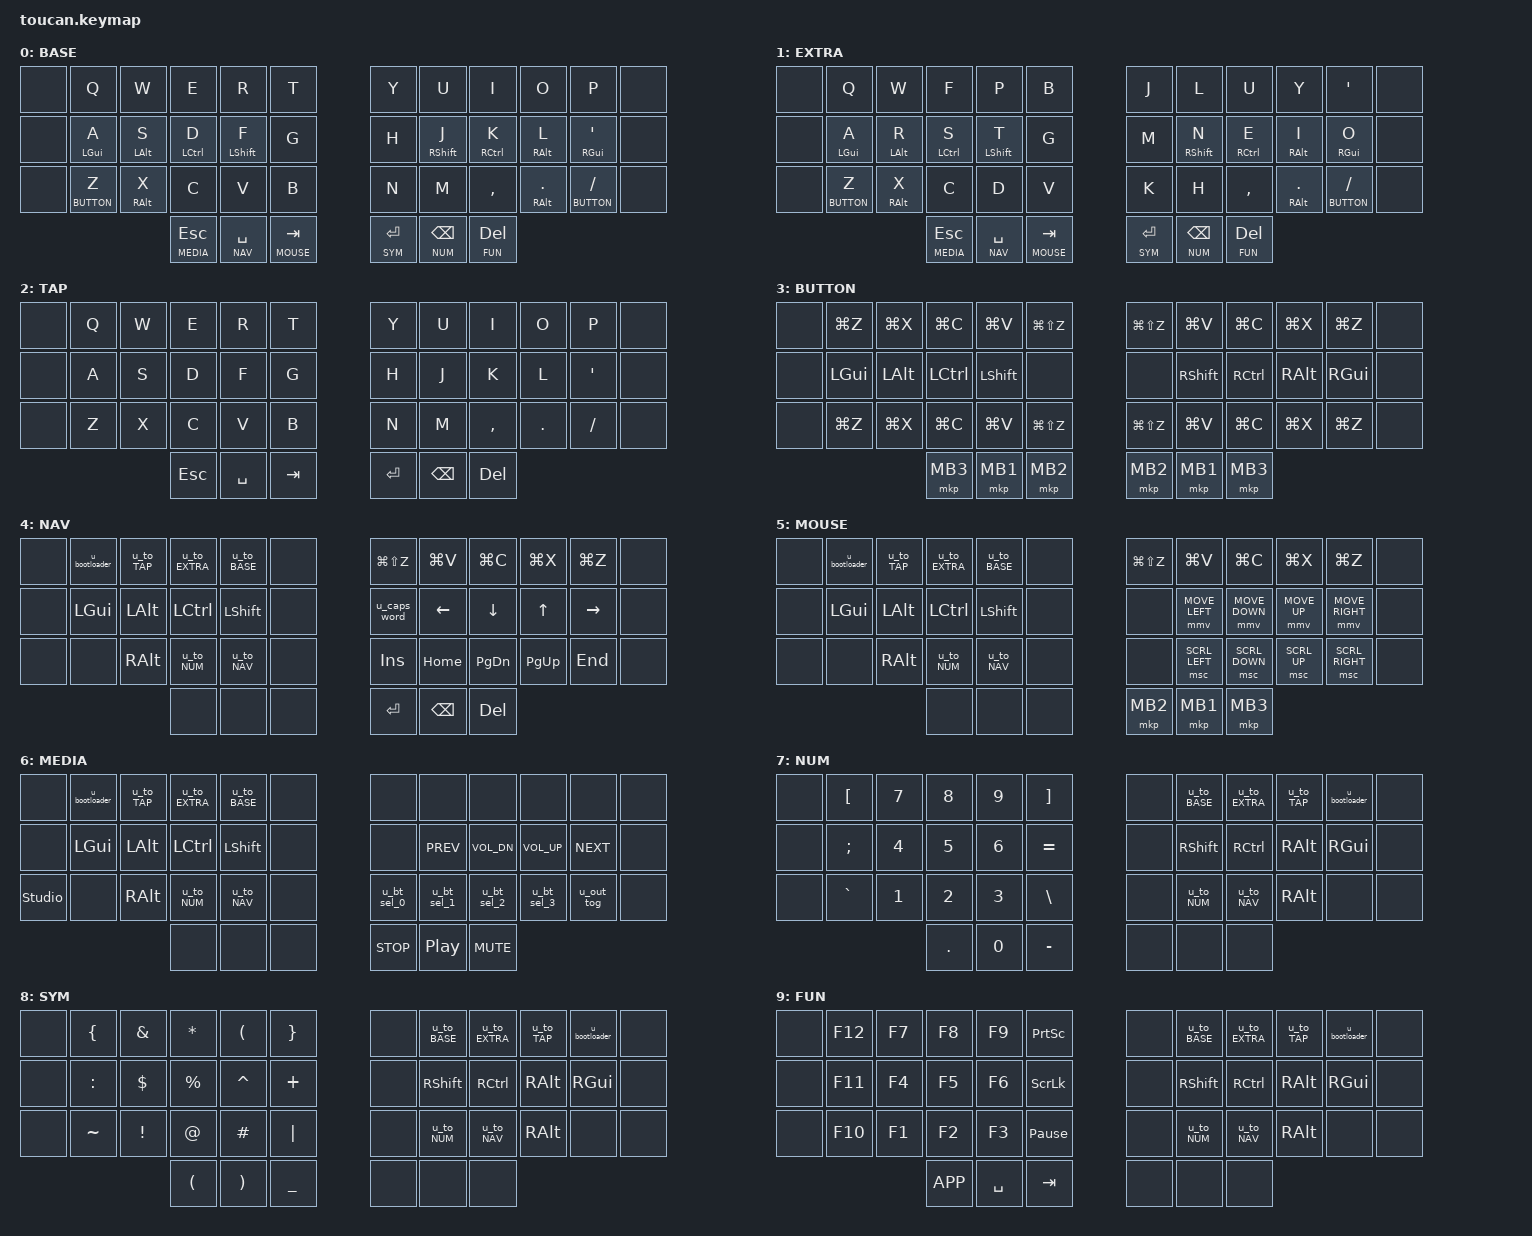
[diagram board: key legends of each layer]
#include <behaviors.dtsi>
#include <behaviors/mouse_keys.dtsi>
#include <dt-bindings/zmk/keys.h>
#include <dt-bindings/zmk/bt.h>
#include <dt-bindings/zmk/outputs.h>
#include <dt-bindings/zmk/pointing.h>

#define BASE   0
#define EXTRA  1
#define TAP    2
#define BUTTON 3
#define NAV    4
#define MOUSE  5
#define MEDIA  6
#define NUM    7
#define SYM    8
#define FUN    9

// Key positions (3 rows of 12 + 6 thumbs)
#define KEYS_L 0 1 2 3 4 5 12 13 14 15 16 17 24 25 26 27 28 29
#define KEYS_R 6 7 8 9 10 11 18 19 20 21 22 23 30 31 32 33 34 35
#define THUMBS 36 37 38 39 40 41

// Mac clipboard shortcuts
#define U_RDO &kp LG(LS(Z))
#define U_PST &kp LG(V)
#define U_CPY &kp LG(C)
#define U_CUT &kp LG(X)
#define U_UND &kp LG(Z)

/ {
    behaviors {
        // Homerow mods: only act as a modifier when combined with a key on the
        // opposite hand (or a thumb key), so same-hand rolls always type letters.
        u_mt_l: u_mt_l {
            compatible = "zmk,behavior-hold-tap";
            #binding-cells = <2>;
            flavor = "balanced";
            tapping-term-ms = <280>;
            quick-tap-ms = <175>;
            require-prior-idle-ms = <150>;
            hold-trigger-on-release;
            hold-trigger-key-positions = <KEYS_R THUMBS>;
            bindings = <&kp>, <&kp>;
        };

        u_mt_r: u_mt_r {
            compatible = "zmk,behavior-hold-tap";
            #binding-cells = <2>;
            flavor = "balanced";
            tapping-term-ms = <280>;
            quick-tap-ms = <175>;
            require-prior-idle-ms = <150>;
            hold-trigger-on-release;
            hold-trigger-key-positions = <KEYS_L THUMBS>;
            bindings = <&kp>, <&kp>;
        };

        // Shift homerow keys: same as above but without require-prior-idle-ms,
        // so shift still works when pressed right after space (e.g. ". I").
        // A stray shift only capitalizes a letter, so the extra guard isn't needed.
        // Shorter tapping term so a quick shift counts even if F is released before I.
        u_sft_l: u_sft_l {
            compatible = "zmk,behavior-hold-tap";
            #binding-cells = <2>;
            flavor = "balanced";
            tapping-term-ms = <170>;
            quick-tap-ms = <175>;
            hold-trigger-on-release;
            hold-trigger-key-positions = <KEYS_R THUMBS>;
            bindings = <&kp>, <&kp>;
        };

        u_sft_r: u_sft_r {
            compatible = "zmk,behavior-hold-tap";
            #binding-cells = <2>;
            flavor = "balanced";
            tapping-term-ms = <170>;
            quick-tap-ms = <175>;
            hold-trigger-on-release;
            hold-trigger-key-positions = <KEYS_L THUMBS>;
            bindings = <&kp>, <&kp>;
        };

        u_lt: u_lt {
            compatible = "zmk,behavior-hold-tap";
            #binding-cells = <2>;
            tapping-term-ms = <200>;
            flavor = "tap-preferred";
            bindings = <&mo>, <&kp>;
        };

        u_caps_word: u_caps_word {
            compatible = "zmk,behavior-mod-morph";
            #binding-cells = <0>;
            bindings = <&caps_word>, <&kp CAPS>;
            mods = <(MOD_LSFT|MOD_RSFT)>;
        };

        u_out_tog: u_out_tog {
            compatible = "zmk,behavior-mod-morph";
            #binding-cells = <0>;
            bindings = <&out OUT_TOG>, <&out OUT_USB>;
            mods = <(MOD_LSFT|MOD_RSFT)>;
        };

        u_bt_sel_0: u_bt_sel_0 {
            compatible = "zmk,behavior-mod-morph";
            #binding-cells = <0>;
            bindings = <&bt BT_SEL 0>, <&u_macro_bt_clr_0>;
            mods = <(MOD_LSFT|MOD_RSFT)>;
        };

        u_bt_sel_1: u_bt_sel_1 {
            compatible = "zmk,behavior-mod-morph";
            #binding-cells = <0>;
            bindings = <&bt BT_SEL 1>, <&u_macro_bt_clr_1>;
            mods = <(MOD_LSFT|MOD_RSFT)>;
        };

        u_bt_sel_2: u_bt_sel_2 {
            compatible = "zmk,behavior-mod-morph";
            #binding-cells = <0>;
            bindings = <&bt BT_SEL 2>, <&u_macro_bt_clr_2>;
            mods = <(MOD_LSFT|MOD_RSFT)>;
        };

        u_bt_sel_3: u_bt_sel_3 {
            compatible = "zmk,behavior-mod-morph";
            #binding-cells = <0>;
            bindings = <&bt BT_SEL 3>, <&u_macro_bt_clr_3>;
            mods = <(MOD_LSFT|MOD_RSFT)>;
        };

        u_bootloader: u_bootloader {
            compatible = "zmk,behavior-tap-dance";
            #binding-cells = <0>;
            tapping-term-ms = <200>;
            bindings = <&none>, <&bootloader>;
        };

        u_to_BASE: u_to_BASE {
            compatible = "zmk,behavior-tap-dance";
            #binding-cells = <0>;
            tapping-term-ms = <200>;
            bindings = <&none>, <&to BASE>;
        };

        u_to_EXTRA: u_to_EXTRA {
            compatible = "zmk,behavior-tap-dance";
            #binding-cells = <0>;
            tapping-term-ms = <200>;
            bindings = <&none>, <&to EXTRA>;
        };

        u_to_TAP: u_to_TAP {
            compatible = "zmk,behavior-tap-dance";
            #binding-cells = <0>;
            tapping-term-ms = <200>;
            bindings = <&none>, <&to TAP>;
        };

        u_to_BUTTON: u_to_BUTTON {
            compatible = "zmk,behavior-tap-dance";
            #binding-cells = <0>;
            tapping-term-ms = <200>;
            bindings = <&none>, <&to BUTTON>;
        };

        u_to_NAV: u_to_NAV {
            compatible = "zmk,behavior-tap-dance";
            #binding-cells = <0>;
            tapping-term-ms = <200>;
            bindings = <&none>, <&to NAV>;
        };

        u_to_MOUSE: u_to_MOUSE {
            compatible = "zmk,behavior-tap-dance";
            #binding-cells = <0>;
            tapping-term-ms = <200>;
            bindings = <&none>, <&to MOUSE>;
        };

        u_to_MEDIA: u_to_MEDIA {
            compatible = "zmk,behavior-tap-dance";
            #binding-cells = <0>;
            tapping-term-ms = <200>;
            bindings = <&none>, <&to MEDIA>;
        };

        u_to_NUM: u_to_NUM {
            compatible = "zmk,behavior-tap-dance";
            #binding-cells = <0>;
            tapping-term-ms = <200>;
            bindings = <&none>, <&to NUM>;
        };

        u_to_FUN: u_to_FUN {
            compatible = "zmk,behavior-tap-dance";
            #binding-cells = <0>;
            tapping-term-ms = <200>;
            bindings = <&none>, <&to FUN>;
        };
    };

    macros {
        u_macro_bt_clr_0: u_macro_bt_clr_0 {
            compatible = "zmk,behavior-macro";
            #binding-cells = <0>;
            bindings = <&bt BT_SEL 0 &bt BT_CLR>;
        };

        u_macro_bt_clr_1: u_macro_bt_clr_1 {
            compatible = "zmk,behavior-macro";
            #binding-cells = <0>;
            bindings = <&bt BT_SEL 1 &bt BT_CLR>;
        };

        u_macro_bt_clr_2: u_macro_bt_clr_2 {
            compatible = "zmk,behavior-macro";
            #binding-cells = <0>;
            bindings = <&bt BT_SEL 2 &bt BT_CLR>;
        };

        u_macro_bt_clr_3: u_macro_bt_clr_3 {
            compatible = "zmk,behavior-macro";
            #binding-cells = <0>;
            bindings = <&bt BT_SEL 3 &bt BT_CLR>;
        };
    };

    keymap {
        compatible = "zmk,keymap";

        base {
            display-name = "BASE";
            bindings = <
                &none  &kp Q         &kp W         &kp E          &kp R          &kp T            &kp Y          &kp U          &kp I          &kp O         &kp P            &none
                &none  &u_mt_l LGUI A  &u_mt_l LALT S  &u_mt_l LCTRL D  &u_sft_l LSHFT F  &kp G            &kp H          &u_sft_r RSHFT J  &u_mt_r RCTRL K  &u_mt_r RALT L  &u_mt_r RGUI SQT   &none
                &none  &lt BUTTON Z  &u_mt_l RALT X  &kp C          &kp V          &kp B            &kp N          &kp M          &kp COMMA      &u_mt_r RALT DOT &lt BUTTON FSLH  &none
                                                    &u_lt MEDIA ESC &u_lt NAV SPACE &u_lt MOUSE TAB  &u_lt SYM RET  &u_lt NUM BSPC &u_lt FUN DEL
            >;
        };

        extra {
            display-name = "EXTRA";
            bindings = <
                &none  &kp Q         &kp W         &kp F          &kp P          &kp B            &kp J          &kp L          &kp U          &kp Y         &kp SQT          &none
                &none  &u_mt_l LGUI A  &u_mt_l LALT R  &u_mt_l LCTRL S  &u_sft_l LSHFT T  &kp G            &kp M          &u_sft_r RSHFT N  &u_mt_r RCTRL E  &u_mt_r RALT I  &u_mt_r RGUI O     &none
                &none  &lt BUTTON Z  &u_mt_l RALT X  &kp C          &kp D          &kp V            &kp K          &kp H          &kp COMMA      &u_mt_r RALT DOT &lt BUTTON FSLH  &none
                                                    &u_lt MEDIA ESC &u_lt NAV SPACE &u_lt MOUSE TAB  &u_lt SYM RET  &u_lt NUM BSPC &u_lt FUN DEL
            >;
        };

        tap {
            display-name = "TAP";
            bindings = <
                &none  &kp Q  &kp W  &kp E    &kp R    &kp T      &kp Y    &kp U    &kp I      &kp O    &kp P     &none
                &none  &kp A  &kp S  &kp D    &kp F    &kp G      &kp H    &kp J    &kp K      &kp L    &kp SQT   &none
                &none  &kp Z  &kp X  &kp C    &kp V    &kp B      &kp N    &kp M    &kp COMMA  &kp DOT  &kp FSLH  &none
                                     &kp ESC  &kp SPACE &kp TAB    &kp RET  &kp BSPC &kp DEL
            >;
        };

        button {
            display-name = "BUTTON";
            bindings = <
                &none  U_UND      U_CUT      U_CPY       U_PST       U_RDO          U_RDO       U_PST       U_CPY       U_CUT      U_UND      &none
                &none  &kp LGUI   &kp LALT   &kp LCTRL   &kp LSHFT   &none          &none       &kp RSHFT   &kp RCTRL   &kp RALT   &kp RGUI   &none
                &none  U_UND      U_CUT      U_CPY       U_PST       U_RDO          U_RDO       U_PST       U_CPY       U_CUT      U_UND      &none
                                              &mkp MB3    &mkp MB1    &mkp MB2       &mkp MB2    &mkp MB1    &mkp MB3
            >;
        };

        nav {
            display-name = "NAV";
            bindings = <
                &none  &u_bootloader &u_to_TAP   &u_to_EXTRA  &u_to_BASE  &none          U_RDO         U_PST       U_CPY       U_CUT       U_UND       &none
                &none  &kp LGUI      &kp LALT    &kp LCTRL    &kp LSHFT   &none          &u_caps_word  &kp LEFT    &kp DOWN    &kp UP      &kp RIGHT   &none
                &none  &none         &kp RALT    &u_to_NUM    &u_to_NAV   &none          &kp INS       &kp HOME    &kp PG_DN   &kp PG_UP   &kp END     &none
                                                 &none        &none       &none          &kp RET       &kp BSPC    &kp DEL
            >;
        };

        mouse {
            display-name = "MOUSE";
            bindings = <
                &none  &u_bootloader &u_to_TAP   &u_to_EXTRA  &u_to_BASE  &none          U_RDO         U_PST         U_CPY         U_CUT         U_UND       &none
                &none  &kp LGUI      &kp LALT    &kp LCTRL    &kp LSHFT   &none          &none         &mmv MOVE_LEFT &mmv MOVE_DOWN &mmv MOVE_UP &mmv MOVE_RIGHT &none
                &none  &none         &kp RALT    &u_to_NUM    &u_to_NAV   &none          &none         &msc SCRL_LEFT &msc SCRL_DOWN &msc SCRL_UP &msc SCRL_RIGHT &none
                                                 &none        &none       &none          &mkp MB2      &mkp MB1      &mkp MB3
            >;
        };

        media {
            display-name = "MEDIA";
            bindings = <
                &none           &u_bootloader &u_to_TAP   &u_to_EXTRA  &u_to_BASE  &none          &none          &none          &none          &none          &none          &none
                &none           &kp LGUI      &kp LALT    &kp LCTRL    &kp LSHFT   &none          &none          &kp C_PREV     &kp C_VOL_DN   &kp C_VOL_UP   &kp C_NEXT     &none
                &studio_unlock  &none         &kp RALT    &u_to_NUM    &u_to_NAV   &none          &u_bt_sel_0    &u_bt_sel_1    &u_bt_sel_2    &u_bt_sel_3    &u_out_tog     &none
                                                          &none        &none       &none          &kp C_STOP     &kp C_PP       &kp C_MUTE
            >;
        };

        num {
            display-name = "NUM";
            bindings = <
                &none  &kp LBKT   &kp N7  &kp N8  &kp N9  &kp RBKT       &none  &u_to_BASE   &u_to_EXTRA  &u_to_TAP   &u_bootloader  &none
                &none  &kp SEMI   &kp N4  &kp N5  &kp N6  &kp EQUAL      &none  &kp RSHFT    &kp RCTRL    &kp RALT    &kp RGUI       &none
                &none  &kp GRAVE  &kp N1  &kp N2  &kp N3  &kp BSLH       &none  &u_to_NUM    &u_to_NAV    &kp RALT    &none          &none
                                          &kp DOT &kp N0  &kp MINUS      &none  &none        &none
            >;
        };

        sym {
            display-name = "SYM";
            bindings = <
                &none  &kp LBRC   &kp AMPS  &kp ASTRK  &kp LPAR   &kp RBRC       &none  &u_to_BASE   &u_to_EXTRA  &u_to_TAP   &u_bootloader  &none
                &none  &kp COLON  &kp DLLR  &kp PRCNT  &kp CARET  &kp PLUS       &none  &kp RSHFT    &kp RCTRL    &kp RALT    &kp RGUI       &none
                &none  &kp TILDE  &kp EXCL  &kp AT     &kp HASH   &kp PIPE       &none  &u_to_NUM    &u_to_NAV    &kp RALT    &none          &none
                                            &kp LPAR   &kp RPAR   &kp UNDER      &none  &none        &none
            >;
        };

        fun {
            display-name = "FUN";
            bindings = <
                &none  &kp F12  &kp F7  &kp F8  &kp F9  &kp PSCRN            &none  &u_to_BASE   &u_to_EXTRA  &u_to_TAP   &u_bootloader  &none
                &none  &kp F11  &kp F4  &kp F5  &kp F6  &kp SLCK             &none  &kp RSHFT    &kp RCTRL    &kp RALT    &kp RGUI       &none
                &none  &kp F10  &kp F1  &kp F2  &kp F3  &kp PAUSE_BREAK      &none  &u_to_NUM    &u_to_NAV    &kp RALT    &none          &none
                                        &kp K_APP &kp SPACE &kp TAB           &none  &none        &none
            >;
        };

        extra_1 {
            status = "reserved";
        };

        extra_2 {
            status = "reserved";
        };
    };
};
